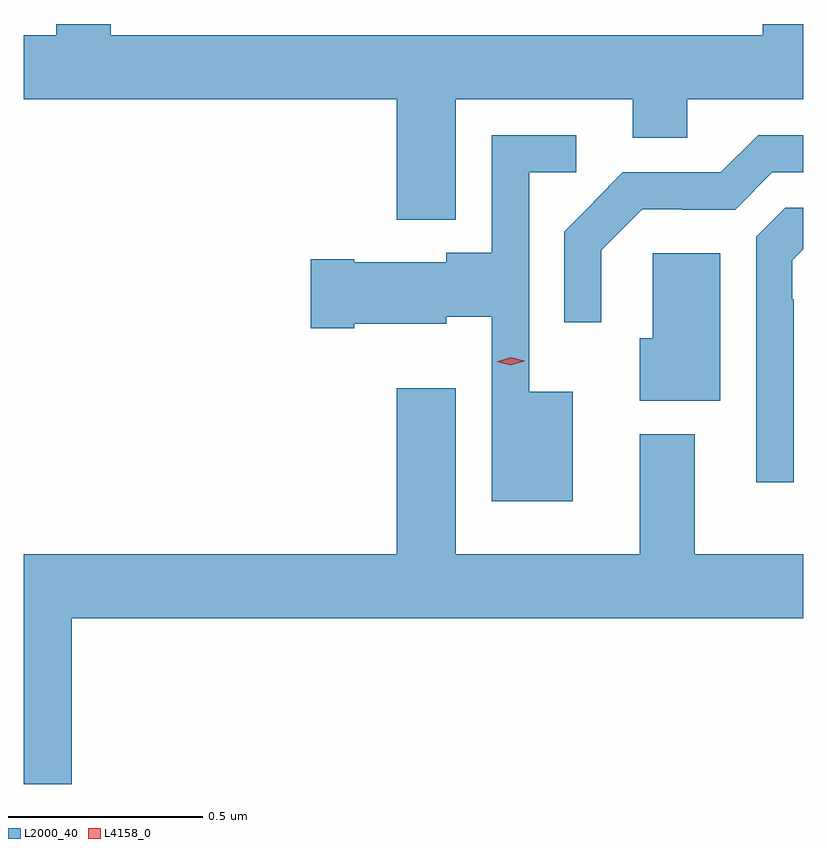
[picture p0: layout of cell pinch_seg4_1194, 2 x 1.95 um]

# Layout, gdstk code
import gdstk
lib = gdstk.Library(unit=1e-6, precision=1e-09)
def P(c, l, *ps):  # polygons
    for p in ps: c.add(gdstk.Polygon(p, *l))
L2000_40 = (2000, 40)
L4158_0 = (4158, 0)

pinch_seg4_1194 = lib.new_cell('pinch_seg4_1194')
P(pinch_seg4_1194, L2000_40, [(401.764,760.856),(402.218,760.856),(402.218,760.757),(402.358,760.757),(402.358,760.856),(402.655,760.856),(402.655,761.049),(402.551,761.049),(402.551,761.02),(400.878,761.02),(400.878,761.049),(400.739,761.049),(400.739,761.02),(400.655,761.02),(400.655,760.856),(401.612,760.856),(401.612,760.547),(401.764,760.547)],
  [(402.137,760.469),(402.242,760.574),(402.344,760.574),(402.344,760.572),(402.48,760.572),(402.576,760.668),(402.655,760.668),(402.655,760.764),(402.539,760.764),(402.443,760.668),(402.192,760.668),(402.117,760.593),(402.118,760.592),(402.042,760.516),(402.042,760.284),(402.137,760.284)],
  [(402.064,760.105),(401.952,760.105),(401.952,760.668),(402.072,760.668),(402.072,760.764),(401.856,760.764),(401.856,760.462),(401.739,760.462),(401.739,760.438),(401.503,760.438),(401.503,760.446),(401.391,760.446),(401.391,760.268),(401.503,760.268),(401.503,760.28),(401.739,760.28),(401.739,760.298),(401.856,760.298),(401.856,759.824),(402.064,759.824)],
  [(402.63,760.343),(402.627,760.343),(402.627,760.443),(402.655,760.471),(402.655,760.578),(402.609,760.578),(402.534,760.503),(402.534,759.873),(402.63,759.873)],
  [(402.442,760.461),(402.269,760.461),(402.269,760.243),(402.236,760.243),(402.236,760.082),(402.442,760.082)],
  [(400.778,759.524),(402.655,759.524),(402.655,759.688),(402.376,759.688),(402.376,759.997),(402.236,759.997),(402.236,759.688),(401.764,759.688),(401.764,760.114),(401.612,760.114),(401.612,759.688),(400.655,759.688),(400.655,759.099),(400.778,759.099)])
P(pinch_seg4_1194, L4158_0, [(401.904,760.174),(401.868,760.183),(401.868,760.183),(401.868,760.183),(401.904,760.194),(401.939,760.185),(401.94,760.185),(401.939,760.184)])

lib.write_gds('pinch_seg4_1194.gds')
